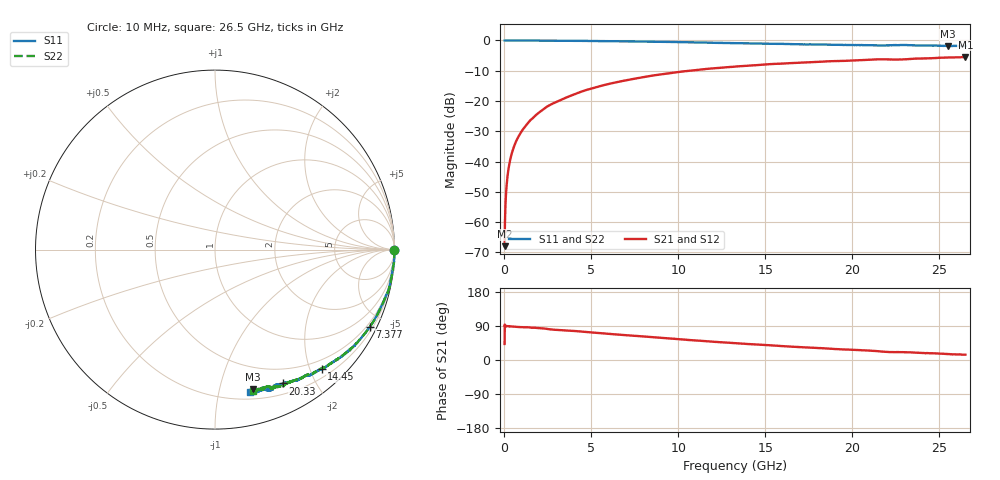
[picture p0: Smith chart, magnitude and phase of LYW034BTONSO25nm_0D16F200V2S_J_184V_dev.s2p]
!Keysight Technologies,N5222B,MY61253708,A.15.00.15
!Date: Wednesday, June 19, 2024 10:32:47
!Correction: S11(C  2-Port  )
!S21(C  2-Port  )
!S12(C  2-Port  )
!S22(C  2-Port  )
!S2P File: Measurements: S11, S21, S12, S22:
# Hz S  RI  R 50
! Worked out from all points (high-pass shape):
!   2651 points, 10 MHz to 26.5 GHz, reference 50 ohm
!   highest |S21| = -5.46 dB at 26.5 GHz (marker M1); lowest = -67.9 dB at 10 MHz (marker M2)
!   |S21| within 3 dB of the highest: 13.63785 GHz to 13.6645 GHz (26.65 MHz wide, 0.195 % of centre); 13.69 GHz to end of sweep
!   lowest |S11| = -1.9 dB at 25.5 GHz (marker M3), VSWR 9.32, Z = 14.3 - j63.4 ohm
!   |S11| at or under -10 dB: nowhere
!   |S22| runs from -1.8 to 0.0 dB; largest |S21 - S12| = 0.0067
!   S11 on the Smith chart (normalised r, x): 10 MHz: open; 7.377 GHz: 0.35, -4.21; 14.45 GHz: 0.34, -2.19; 20.33 GHz: 0.32, -1.58; 26.5 GHz: 0.26, -1.24
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1e7  0.9984 -0.00313  0.000297 0.000271  -0.000152 3.33e-05  0.9984 -0.0018
7.997358e7  0.9999 -0.00566  6.1e-05 0.00259  4.94e-05 0.00262  0.9994 -0.00517
1.499472e8  1 -0.0107  5.47e-05 0.00487  5.63e-05 0.00485  0.9996 -0.00992
1.799358e8  1 -0.0118  7.24e-05 0.00583  5.02e-05 0.00584  0.9996 -0.0111
2.29917e8  0.9997 -0.0155  0.000111 0.00745  0.000112 0.00747  0.9994 -0.0146
3.19883e8  0.9996 -0.0212  0.000204 0.0104  0.000241 0.0104  0.9996 -0.0199
4.49834e8  0.999 -0.0301  0.000413 0.0145  0.000443 0.0145  0.9986 -0.0293
5.997774e8  0.9987 -0.0392  0.000739 0.0194  0.000754 0.0194  0.9989 -0.038
7.897057e8  0.9982 -0.0518  0.00128 0.0254  0.00126 0.0254  0.9978 -0.0507
1.429464e9  0.991 -0.0948  0.0031 0.046  0.00314 0.046  0.9937 -0.0908
2.319128e9  0.9826 -0.1485  0.0093 0.0756  0.00947 0.0758  0.9839 -0.1483
3.018864e9  0.9746 -0.192  0.0181 0.0963  0.0182 0.0965  0.9759 -0.1905
4.428332e9  0.9449 -0.2761  0.0366 0.1385  0.0368 0.1389  0.9471 -0.272
7.377219e9  0.8619 -0.4309  0.1004 0.2077  0.1014 0.2079  0.8646 -0.4271
8.846664e9  0.8101 -0.497  0.1397 0.2332  0.1408 0.2334  0.8129 -0.4932
1.3255e10  0.6378 -0.6392  0.2643 0.2596  0.266 0.259  0.6439 -0.6354
1.445455e10  0.5935 -0.666  0.2943 0.2568  0.2958 0.256  0.5985 -0.6591
1.767333e10  0.4675 -0.7217  0.3699 0.2347  0.3728 0.2329  0.4811 -0.7171
2.033233e10  0.3792 -0.7459  0.4231 0.2081  0.4242 0.2048  0.3967 -0.7444
2.209166e10  0.3322 -0.7578  0.4537 0.175  0.455 0.1722  0.3301 -0.7627
2.550038e10  0.212 -0.7778  0.5041 0.1395  0.505 0.1394  0.2368 -0.7796
2.65e10  0.1928 -0.7926  0.5177 0.1288  0.5166 0.1249  0.2103 -0.7902
